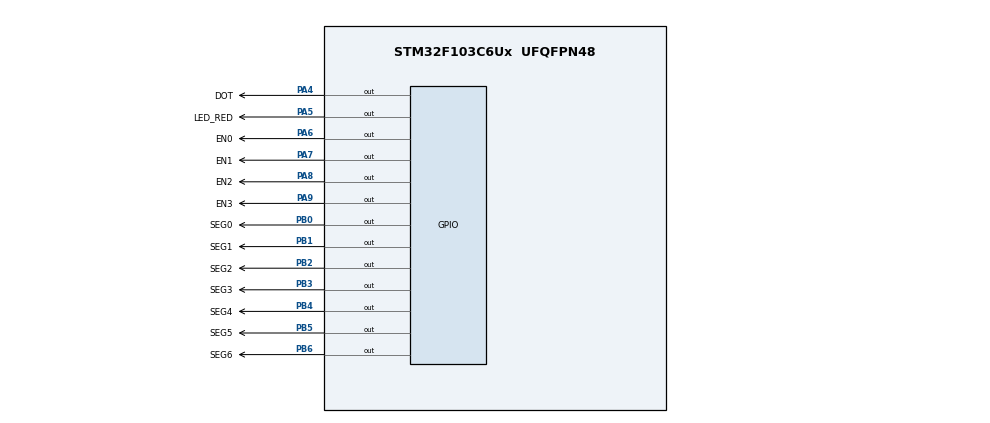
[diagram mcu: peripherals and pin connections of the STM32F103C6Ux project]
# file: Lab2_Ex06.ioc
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Mcu.Family=STM32F1
Mcu.Name=STM32F103C6Ux
Mcu.Package=UFQFPN48
NVIC.PriorityGroup=NVIC_PRIORITYGROUP_4
NVIC.TIM2_IRQn=true\:0\:0\:false\:false\:true\:true\:true
PA4.GPIO_Label=DOT
PA4.Signal=GPIO_Output
PA5.GPIO_Label=LED_RED
PA5.Signal=GPIO_Output
PA6.GPIO_Label=EN0
PA6.Signal=GPIO_Output
PA7.GPIO_Label=EN1
PA7.Signal=GPIO_Output
PA8.GPIO_Label=EN2
PA8.Signal=GPIO_Output
PA9.GPIO_Label=EN3
PA9.Signal=GPIO_Output
PB0.GPIO_Label=SEG0
PB0.Signal=GPIO_Output
PB1.GPIO_Label=SEG1
PB1.Signal=GPIO_Output
PB2.GPIO_Label=SEG2
PB2.Signal=GPIO_Output
PB3.GPIO_Label=SEG3
PB3.Signal=GPIO_Output
PB4.GPIO_Label=SEG4
PB4.Signal=GPIO_Output
PB5.GPIO_Label=SEG5
PB5.Signal=GPIO_Output
PB6.GPIO_Label=SEG6
PB6.Signal=GPIO_Output
ProjectManager.HeapSize=0x200
ProjectManager.StackSize=0x400
ProjectManager.TargetToolchain=STM32CubeIDE
RCC.APB1Freq_Value=8000000
RCC.APB2Freq_Value=8000000
TIM2.Period=9
TIM2.Prescaler=7999
VP_SYS_VS_ND.Mode=No_Debug
VP_TIM2_VS_ClockSourceINT.Mode=Internal
board=custom

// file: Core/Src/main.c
/* USER CODE BEGIN Header */
/**
  ******************************************************************************
  * @file           : main.c
  * @brief          : Main program body
  ******************************************************************************
  * @attention
  *
  * <h2><center>&copy; Copyright (c) 2022 STMicroelectronics.
  * All rights reserved.</center></h2>
  *
  * This software component is licensed by ST under BSD 3-Clause license,
  * the "License"; You may not use this file except in compliance with the
  * License. You may obtain a copy of the License at:
  *                        opensource.org/licenses/BSD-3-Clause
  *
  ******************************************************************************
  */
/* USER CODE END Header */
#include "main.h"

TIM_HandleTypeDef htim2;

void SystemClock_Config(void);
static void MX_GPIO_Init(void);
static void MX_TIM2_Init(void);

/* USER CODE BEGIN 0 */
void display7SEG(int num){
	if( num == 0){
		HAL_GPIO_WritePin(SEG0_GPIO_Port, SEG0_Pin, GPIO_PIN_RESET);
		HAL_GPIO_WritePin(SEG1_GPIO_Port, SEG1_Pin, GPIO_PIN_RESET);
		HAL_GPIO_WritePin(SEG2_GPIO_Port, SEG2_Pin, GPIO_PIN_RESET);
		HAL_GPIO_WritePin(SEG3_GPIO_Port, SEG3_Pin, GPIO_PIN_RESET);
		HAL_GPIO_WritePin(SEG4_GPIO_Port, SEG4_Pin, GPIO_PIN_RESET);
		HAL_GPIO_WritePin(SEG5_GPIO_Port, SEG5_Pin, GPIO_PIN_RESET);
		HAL_GPIO_WritePin(SEG6_GPIO_Port, SEG6_Pin, GPIO_PIN_SET);
	}

	if(num == 1){
		HAL_GPIO_WritePin(SEG0_GPIO_Port, SEG0_Pin, GPIO_PIN_SET);
		HAL_GPIO_WritePin(SEG1_GPIO_Port, SEG1_Pin, GPIO_PIN_RESET);
		HAL_GPIO_WritePin(SEG2_GPIO_Port, SEG2_Pin, GPIO_PIN_RESET);
		HAL_GPIO_WritePin(SEG3_GPIO_Port, SEG3_Pin, GPIO_PIN_SET );
		HAL_GPIO_WritePin(SEG4_GPIO_Port, SEG4_Pin, GPIO_PIN_SET);
		HAL_GPIO_WritePin(SEG5_GPIO_Port, SEG5_Pin, GPIO_PIN_SET);
		HAL_GPIO_WritePin(SEG6_GPIO_Port, SEG6_Pin, GPIO_PIN_SET);
	}

	if(num == 2){
		HAL_GPIO_WritePin(SEG0_GPIO_Port, SEG0_Pin, GPIO_PIN_RESET);
		HAL_GPIO_WritePin(SEG1_GPIO_Port, SEG1_Pin, GPIO_PIN_RESET);
		HAL_GPIO_WritePin(SEG2_GPIO_Port, SEG2_Pin, GPIO_PIN_SET);
		HAL_GPIO_WritePin(SEG3_GPIO_Port, SEG3_Pin, GPIO_PIN_RESET);
		HAL_GPIO_WritePin(SEG4_GPIO_Port, SEG4_Pin, GPIO_PIN_RESET);
		HAL_GPIO_WritePin(SEG5_GPIO_Port, SEG5_Pin, GPIO_PIN_SET);
		HAL_GPIO_WritePin(SEG6_GPIO_Port, SEG6_Pin, GPIO_PIN_RESET);
	}

	if(num == 3){
		HAL_GPIO_WritePin(SEG0_GPIO_Port, SEG0_Pin, GPIO_PIN_RESET);
		HAL_GPIO_WritePin(SEG1_GPIO_Port, SEG1_Pin, GPIO_PIN_RESET);
		HAL_GPIO_WritePin(SEG2_GPIO_Port, SEG2_Pin, GPIO_PIN_RESET);
		HAL_GPIO_WritePin(SEG3_GPIO_Port, SEG3_Pin, GPIO_PIN_RESET);
		HAL_GPIO_WritePin(SEG4_GPIO_Port, SEG4_Pin, GPIO_PIN_SET);
		HAL_GPIO_WritePin(SEG5_GPIO_Port, SEG5_Pin, GPIO_PIN_SET);
		HAL_GPIO_WritePin(SEG6_GPIO_Port, SEG6_Pin, GPIO_PIN_RESET);
	}

	if(num == 4){
		HAL_GPIO_WritePin(SEG0_GPIO_Port, SEG0_Pin, GPIO_PIN_SET);
		HAL_GPIO_WritePin(SEG1_GPIO_Port, SEG1_Pin, GPIO_PIN_RESET);
		HAL_GPIO_WritePin(SEG2_GPIO_Port, SEG2_Pin, GPIO_PIN_RESET);
		HAL_GPIO_WritePin(SEG3_GPIO_Port, SEG3_Pin, GPIO_PIN_SET);
		HAL_GPIO_WritePin(SEG4_GPIO_Port, SEG4_Pin, GPIO_PIN_SET);
		HAL_GPIO_WritePin(SEG5_GPIO_Port, SEG5_Pin, GPIO_PIN_RESET);
		HAL_GPIO_WritePin(SEG6_GPIO_Port, SEG6_Pin, GPIO_PIN_RESET);
	}

	if(num == 5){
		HAL_GPIO_WritePin(SEG0_GPIO_Port, SEG0_Pin, GPIO_PIN_RESET);
		HAL_GPIO_WritePin(SEG1_GPIO_Port, SEG1_Pin, GPIO_PIN_SET);
		HAL_GPIO_WritePin(SEG2_GPIO_Port, SEG2_Pin, GPIO_PIN_RESET);
		HAL_GPIO_WritePin(SEG3_GPIO_Port, SEG3_Pin, GPIO_PIN_RESET);
		HAL_GPIO_WritePin(SEG4_GPIO_Port, SEG4_Pin, GPIO_PIN_SET);
		HAL_GPIO_WritePin(SEG5_GPIO_Port, SEG5_Pin, GPIO_PIN_RESET);
		HAL_GPIO_WritePin(SEG6_GPIO_Port, SEG6_Pin, GPIO_PIN_RESET);
	}

	if(num == 6){
		HAL_GPIO_WritePin(SEG0_GPIO_Port, SEG0_Pin, GPIO_PIN_RESET);
		HAL_GPIO_WritePin(SEG1_GPIO_Port, SEG1_Pin, GPIO_PIN_SET);
		HAL_GPIO_WritePin(SEG2_GPIO_Port, SEG2_Pin, GPIO_PIN_RESET);
		HAL_GPIO_WritePin(SEG3_GPIO_Port, SEG3_Pin, GPIO_PIN_RESET);
		HAL_GPIO_WritePin(SEG4_GPIO_Port, SEG4_Pin, GPIO_PIN_RESET);
		HAL_GPIO_WritePin(SEG5_GPIO_Port, SEG5_Pin, GPIO_PIN_RESET);
		HAL_GPIO_WritePin(SEG6_GPIO_Port, SEG6_Pin, GPIO_PIN_RESET);
	}

	if(num == 7){
		HAL_GPIO_WritePin(SEG0_GPIO_Port, SEG0_Pin, GPIO_PIN_RESET);
		HAL_GPIO_WritePin(SEG1_GPIO_Port, SEG1_Pin, GPIO_PIN_RESET);
		HAL_GPIO_WritePin(SEG2_GPIO_Port, SEG2_Pin, GPIO_PIN_RESET);
		HAL_GPIO_WritePin(SEG3_GPIO_Port, SEG3_Pin, GPIO_PIN_SET);
		HAL_GPIO_WritePin(SEG4_GPIO_Port, SEG4_Pin, GPIO_PIN_SET);
		HAL_GPIO_WritePin(SEG5_GPIO_Port, SEG5_Pin, GPIO_PIN_SET);
		HAL_GPIO_WritePin(SEG6_GPIO_Port, SEG6_Pin, GPIO_PIN_SET);
	}

	if(num == 8){
		HAL_GPIO_WritePin(SEG0_GPIO_Port, SEG0_Pin, GPIO_PIN_RESET);
		HAL_GPIO_WritePin(SEG1_GPIO_Port, SEG1_Pin, GPIO_PIN_RESET);
		HAL_GPIO_WritePin(SEG2_GPIO_Port, SEG2_Pin, GPIO_PIN_RESET);
		HAL_GPIO_WritePin(SEG3_GPIO_Port, SEG3_Pin, GPIO_PIN_RESET);
		HAL_GPIO_WritePin(SEG4_GPIO_Port, SEG4_Pin, GPIO_PIN_RESET);
		HAL_GPIO_WritePin(SEG5_GPIO_Port, SEG5_Pin, GPIO_PIN_RESET);
		HAL_GPIO_WritePin(SEG6_GPIO_Port, SEG6_Pin, GPIO_PIN_RESET);
	}

	if(num == 9){
		HAL_GPIO_WritePin(SEG0_GPIO_Port, SEG0_Pin, GPIO_PIN_RESET);
		HAL_GPIO_WritePin(SEG1_GPIO_Port, SEG1_Pin, GPIO_PIN_RESET);
		HAL_GPIO_WritePin(SEG2_GPIO_Port, SEG2_Pin, GPIO_PIN_RESET);
		HAL_GPIO_WritePin(SEG3_GPIO_Port, SEG3_Pin, GPIO_PIN_RESET);
		HAL_GPIO_WritePin(SEG4_GPIO_Port, SEG4_Pin, GPIO_PIN_SET);
		HAL_GPIO_WritePin(SEG5_GPIO_Port, SEG5_Pin, GPIO_PIN_RESET);
		HAL_GPIO_WritePin(SEG6_GPIO_Port, SEG6_Pin, GPIO_PIN_RESET);
	}
}

int led_buffer [4] = {};
void update7SEG(int index){
	switch(index){
	case 0:
		HAL_GPIO_WritePin(EN0_GPIO_Port, EN0_Pin, GPIO_PIN_RESET);
		HAL_GPIO_WritePin(EN1_GPIO_Port, EN1_Pin, GPIO_PIN_SET);
		HAL_GPIO_WritePin(EN2_GPIO_Port, EN2_Pin, GPIO_PIN_SET);
		HAL_GPIO_WritePin(EN3_GPIO_Port, EN3_Pin, GPIO_PIN_SET);
		display7SEG(led_buffer[0]);
		break;
	case 1:
		HAL_GPIO_WritePin(EN0_GPIO_Port, EN0_Pin, GPIO_PIN_SET);
		HAL_GPIO_WritePin(EN1_GPIO_Port, EN1_Pin, GPIO_PIN_RESET);
		HAL_GPIO_WritePin(EN2_GPIO_Port, EN2_Pin, GPIO_PIN_SET);
		HAL_GPIO_WritePin(EN3_GPIO_Port, EN3_Pin, GPIO_PIN_SET);
		display7SEG(led_buffer[1]);
		break;
	case 2:
		HAL_GPIO_WritePin(EN0_GPIO_Port, EN0_Pin, GPIO_PIN_SET);
		HAL_GPIO_WritePin(EN1_GPIO_Port, EN1_Pin, GPIO_PIN_SET);
		HAL_GPIO_WritePin(EN2_GPIO_Port, EN2_Pin, GPIO_PIN_RESET);
		HAL_GPIO_WritePin(EN3_GPIO_Port, EN3_Pin, GPIO_PIN_SET);
		display7SEG(led_buffer[2]);
		break;
	case 3:
		HAL_GPIO_WritePin(EN0_GPIO_Port, EN0_Pin, GPIO_PIN_SET);
		HAL_GPIO_WritePin(EN1_GPIO_Port, EN1_Pin, GPIO_PIN_SET);
		HAL_GPIO_WritePin(EN2_GPIO_Port, EN2_Pin, GPIO_PIN_SET);
		HAL_GPIO_WritePin(EN3_GPIO_Port, EN3_Pin, GPIO_PIN_RESET);
		display7SEG(led_buffer[3]);
		break;
	default:
		break;
	}
}

int hour = 23, minute = 59, second = 55;
void updateClockBuffer(){
	led_buffer [0] = hour/10;
	led_buffer [1] = hour%10;
	led_buffer [2] = minute/10;
	led_buffer [3] = minute%10;
}

int timer0_counter = 0;
int timer0_flag = 0;
int TIMER_CYCLE = 10;

void setTimer0(int duration){
	timer0_counter = duration/TIMER_CYCLE;
	timer0_flag = 0;
}

void timer_run(){
	if(timer0_counter > 0)
		timer0_counter--;
	if(timer0_counter == 0)
		timer0_flag = 1;
}
/* USER CODE END 0 */

int main(void)
{

  /* MCU Configuration--------------------------------------------------------*/

  /* Reset of all peripherals, Initializes the Flash interface and the Systick. */
  HAL_Init();

  /* Configure the system clock */
  SystemClock_Config();

  /* Initialize all configured peripherals */
  MX_GPIO_Init();
  MX_TIM2_Init();
  /* USER CODE BEGIN 2 */
  HAL_TIM_Base_Start_IT(& htim2);
  setTimer0(1000);
  /* USER CODE END 2 */

  /* Infinite loop */
  while (1)
  {

    /* USER CODE BEGIN 3 */
	  if(timer0_flag == 1){
		  HAL_GPIO_TogglePin(LED_RED_GPIO_Port, LED_RED_Pin);
		  setTimer0(2000);
	  }
	  second++;
	  if(second >= 60){
	  		second = 0;
	  		minute++;
	  }
	  if(minute >= 60){
	  		minute = 0;
	  		hour++;
	  }
	  if(hour >= 24){
	  		hour = 0;
	  }
	  updateClockBuffer();
	  HAL_Delay(1000);
  }
  /* USER CODE END 3 */
}

void SystemClock_Config(void)
{
  RCC_OscInitTypeDef RCC_OscInitStruct = {0};
  RCC_ClkInitTypeDef RCC_ClkInitStruct = {0};

  /** Initializes the RCC Oscillators according to the specified parameters
  * in the RCC_OscInitTypeDef structure.
  */
  RCC_OscInitStruct.OscillatorType = RCC_OSCILLATORTYPE_HSI;
  RCC_OscInitStruct.HSIState = RCC_HSI_ON;
  RCC_OscInitStruct.HSICalibrationValue = RCC_HSICALIBRATION_DEFAULT;
  RCC_OscInitStruct.PLL.PLLState = RCC_PLL_NONE;
  if (HAL_RCC_OscConfig(&RCC_OscInitStruct) != HAL_OK)
  {
    Error_Handler();
  }
  /** Initializes the CPU, AHB and APB buses clocks
  */
  RCC_ClkInitStruct.ClockType = RCC_CLOCKTYPE_HCLK|RCC_CLOCKTYPE_SYSCLK
                              |RCC_CLOCKTYPE_PCLK1|RCC_CLOCKTYPE_PCLK2;
  RCC_ClkInitStruct.SYSCLKSource = RCC_SYSCLKSOURCE_HSI;
  RCC_ClkInitStruct.AHBCLKDivider = RCC_SYSCLK_DIV1;
  RCC_ClkInitStruct.APB1CLKDivider = RCC_HCLK_DIV1;
  RCC_ClkInitStruct.APB2CLKDivider = RCC_HCLK_DIV1;

  if (HAL_RCC_ClockConfig(&RCC_ClkInitStruct, FLASH_LATENCY_0) != HAL_OK)
  {
    Error_Handler();
  }
}

static void MX_TIM2_Init(void)
{

  TIM_ClockConfigTypeDef sClockSourceConfig = {0};
  TIM_MasterConfigTypeDef sMasterConfig = {0};

  htim2.Instance = TIM2;
  htim2.Init.Prescaler = 7999;
  htim2.Init.CounterMode = TIM_COUNTERMODE_UP;
  htim2.Init.Period = 9;
  htim2.Init.ClockDivision = TIM_CLOCKDIVISION_DIV1;
  htim2.Init.AutoReloadPreload = TIM_AUTORELOAD_PRELOAD_DISABLE;
  if (HAL_TIM_Base_Init(&htim2) != HAL_OK)
  {
    Error_Handler();
  }
  sClockSourceConfig.ClockSource = TIM_CLOCKSOURCE_INTERNAL;
  if (HAL_TIM_ConfigClockSource(&htim2, &sClockSourceConfig) != HAL_OK)
  {
    Error_Handler();
  }
  sMasterConfig.MasterOutputTrigger = TIM_TRGO_RESET;
  sMasterConfig.MasterSlaveMode = TIM_MASTERSLAVEMODE_DISABLE;
  if (HAL_TIMEx_MasterConfigSynchronization(&htim2, &sMasterConfig) != HAL_OK)
  {
    Error_Handler();
  }

}

static void MX_GPIO_Init(void)
{
  GPIO_InitTypeDef GPIO_InitStruct = {0};

  /* GPIO Ports Clock Enable */
  __HAL_RCC_GPIOA_CLK_ENABLE();
  __HAL_RCC_GPIOB_CLK_ENABLE();

  /*Configure GPIO pin Output Level */
  HAL_GPIO_WritePin(GPIOA, DOT_Pin|LED_RED_Pin|EN0_Pin|EN1_Pin
                          |EN2_Pin|EN3_Pin, GPIO_PIN_RESET);

  /*Configure GPIO pin Output Level */
  HAL_GPIO_WritePin(GPIOB, SEG0_Pin|SEG1_Pin|SEG2_Pin|SEG3_Pin
                          |SEG4_Pin|SEG5_Pin|SEG6_Pin, GPIO_PIN_RESET);

  /*Configure GPIO pins : DOT_Pin LED_RED_Pin EN0_Pin EN1_Pin
                           EN2_Pin EN3_Pin */
  GPIO_InitStruct.Pin = DOT_Pin|LED_RED_Pin|EN0_Pin|EN1_Pin
                          |EN2_Pin|EN3_Pin;
  GPIO_InitStruct.Mode = GPIO_MODE_OUTPUT_PP;
  GPIO_InitStruct.Pull = GPIO_NOPULL;
  GPIO_InitStruct.Speed = GPIO_SPEED_FREQ_LOW;
  HAL_GPIO_Init(GPIOA, &GPIO_InitStruct);

  /*Configure GPIO pins : SEG0_Pin SEG1_Pin SEG2_Pin SEG3_Pin
                           SEG4_Pin SEG5_Pin SEG6_Pin */
  GPIO_InitStruct.Pin = SEG0_Pin|SEG1_Pin|SEG2_Pin|SEG3_Pin
                          |SEG4_Pin|SEG5_Pin|SEG6_Pin;
  GPIO_InitStruct.Mode = GPIO_MODE_OUTPUT_PP;
  GPIO_InitStruct.Pull = GPIO_NOPULL;
  GPIO_InitStruct.Speed = GPIO_SPEED_FREQ_LOW;
  HAL_GPIO_Init(GPIOB, &GPIO_InitStruct);

}

/* USER CODE BEGIN 4 */
const int MAX_LED = 4;
int index_led = 0;
int counter = 25;
int counter_dot = 100;
void HAL_TIM_PeriodElapsedCallback ( TIM_HandleTypeDef * htim )
{
	timer_run();
	// called every 10 ms
	// dot blink every second
	counter_dot--;
	if(counter_dot <= 0){
		counter_dot = 100;
		HAL_GPIO_TogglePin(DOT_GPIO_Port, DOT_Pin);
	}
	counter--;
	if(counter <= 0){
		counter = 25;
		switch(index_led){
		case 0:
			update7SEG(0);
			index_led = 1;
			break;
		case 1:
			update7SEG(1);
			index_led = 2;
			break;
		case 2:
			update7SEG(2);
			index_led = 3;
			break;
		case 3:
			update7SEG(3);
			index_led = 0;
			break;
		default:
			break;
		}
	}
}
/* USER CODE END 4 */

void Error_Handler(void)
{
  __disable_irq();
  while (1)
  {
  }
}

/************************ (C) COPYRIGHT STMicroelectronics *****END OF FILE****/
